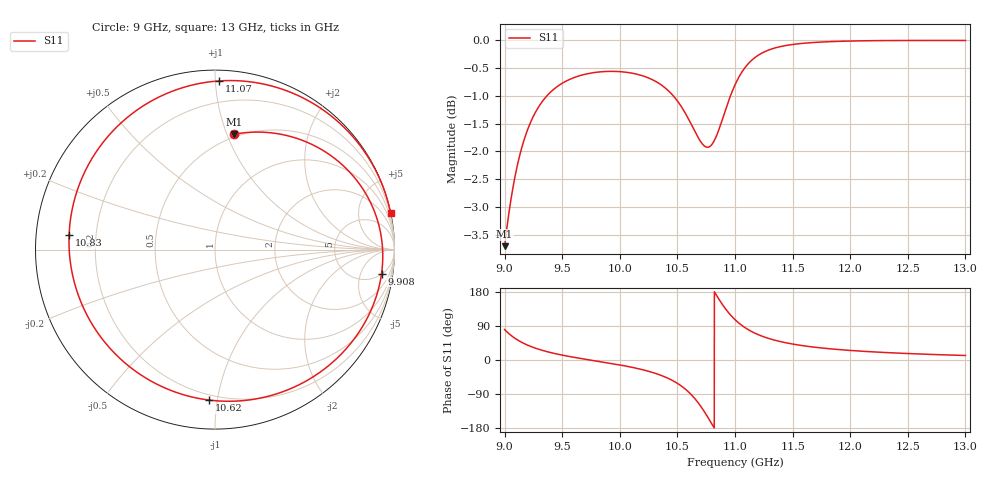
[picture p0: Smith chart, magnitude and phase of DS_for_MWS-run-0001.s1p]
! TOUCHSTONE file generated by CST DESIGN STUDIO
! Date and time: Tue Feb  4 14:07:40 2025
! Project name: C:\Work\MatlabApps\UnitCellOptimizationMatlab\CST\unitcell.cst
! Tree item: Tasks\Sweep1\SPara1\S-Parameters
! Header version: 2024
! Port assignment regex: !\s*Touchstone port\s*([0-9]+)\s*=\s*(CST MWS port|CST DES external port|CST DES block port)\s*(.+)\s* \(\"(.*)\"\)(\s*mode\s*([0-9]+))?.*
! Touchstone port assignment:
! Touchstone port 1 = CST DES external port 1 ("")
# GHz S MA R 50
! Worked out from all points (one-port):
!   4001 points, 9 GHz to 13 GHz, reference 50 ohm
!   lowest |S11| = -3.7 dB at 9 GHz (marker M1), VSWR 4.75, Z = 23.8 + j53.2 ohm
!   |S11| at or under -10 dB: nowhere
!   S11 on the Smith chart (normalised r, x): 9 GHz: 0.48, +1.06; 9.908 GHz: 5, -12; 10.62 GHz: 0.17, -0.95; 10.83 GHz: 0.10, +0.05; 11.07 GHz: 0.06, +1.02; 13 GHz: 0.02, +9.60
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9  0.6524 80.4
9.11  0.7709 53.3
9.211  0.8366 37.7
9.338  0.8837 24.5
9.5  0.9146 12.9
9.908  0.9375 -8.2
10  0.937 -13.1
10.302  0.9193 -34.6
10.41  0.9029 -47.0
10.5  0.8817 -61.6
10.562  0.862 -75.1
10.623  0.839 -92.2
10.675  0.8191 -110.7
10.722  0.8053 -130.8
10.781  0.8022 -159.6
10.832  0.8168 174.4
10.872  0.8375 154.9
10.919  0.8663 134.5
10.958  0.8895 119.9
11  0.9115 106.5
11.071  0.9399 88.7
11.157  0.9618 73.1
11.252  0.9759 60.9
11.364  0.9852 50.8
11.5  0.9913 42.1
12  0.9983 25.2
12.5  0.9995 17.0
13  0.9996 11.9
